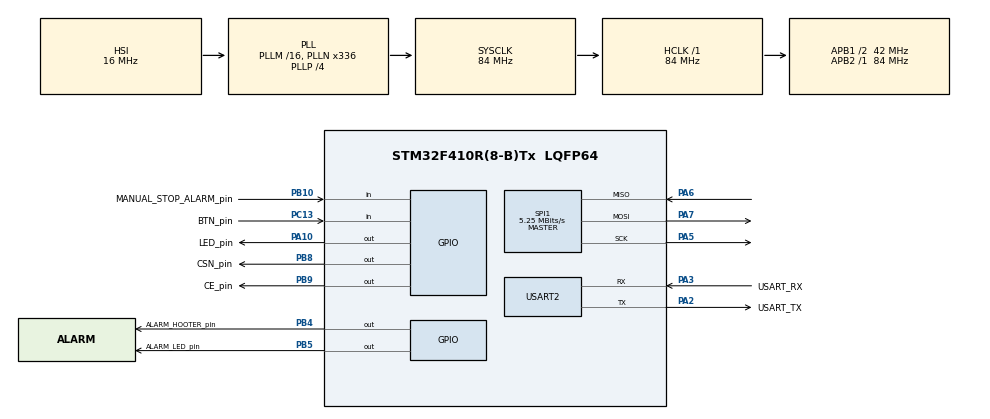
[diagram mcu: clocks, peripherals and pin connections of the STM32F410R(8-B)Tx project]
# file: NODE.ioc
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Mcu.Family=STM32F4
Mcu.Name=STM32F410R(8-B)Tx
Mcu.Package=LQFP64
NVIC.PriorityGroup=NVIC_PRIORITYGROUP_0
PA10.GPIO_Label=LED_pin
PA10.Signal=GPIO_Output
PA13.GPIO_Label=TMS
PA13.Mode=Serial_Wire
PA13.Signal=SYS_JTMS-SWDIO
PA14.GPIO_Label=TCK
PA14.Mode=Serial_Wire
PA14.Signal=SYS_JTCK-SWCLK
PA2.GPIO_Label=USART_TX
PA2.Mode=Asynchronous
PA2.Signal=USART2_TX
PA3.GPIO_Label=USART_RX
PA3.Mode=Asynchronous
PA3.Signal=USART2_RX
PA5.Mode=Full_Duplex_Master
PA5.Signal=SPI1_SCK
PA6.Mode=Full_Duplex_Master
PA6.Signal=SPI1_MISO
PA7.Mode=Full_Duplex_Master
PA7.Signal=SPI1_MOSI
PB10.GPIO_Label=MANUAL_STOP_ALARM_pin
PB10.GPIO_PuPd=GPIO_PULLUP
PB10.Signal=GPIO_Input
PB3.GPIO_Label=SWO
PB3.Signal=SYS_JTDO-SWO
PB4.GPIO_Label=ALARM_HOOTER_pin
PB4.Signal=GPIO_Output
PB5.GPIO_Label=ALARM_LED_pin
PB5.Signal=GPIO_Output
PB8.GPIO_Label=CSN_pin
PB8.Signal=GPIO_Output
PB9.GPIO_Label=CE_pin
PB9.Signal=GPIO_Output
PC13-ANTI_TAMP.GPIO_Label=BTN_pin
PC13-ANTI_TAMP.Signal=GPIO_Input
PC14-OSC32_IN.Mode=LSE-External-Oscillator
PC14-OSC32_IN.Signal=RCC_OSC32_IN
PC15-OSC32_OUT.Mode=LSE-External-Oscillator
PC15-OSC32_OUT.Signal=RCC_OSC32_OUT
PH0\ -\ OSC_IN.Mode=HSE-External-Clock-Source
PH0\ -\ OSC_IN.Signal=RCC_OSC_IN
PH1\ -\ OSC_OUT.Mode=HSE-External-Clock-Source
PH1\ -\ OSC_OUT.Signal=RCC_OSC_OUT
ProjectManager.HeapSize=0x200
ProjectManager.StackSize=0x400
ProjectManager.TargetToolchain=STM32CubeIDE
RCC.48MHZClocksFreq_Value=84000000
RCC.AHBFreq_Value=84000000
RCC.APB1CLKDivider=RCC_HCLK_DIV2
RCC.APB1Freq_Value=42000000
RCC.APB1TimFreq_Value=84000000
RCC.APB2Freq_Value=84000000
RCC.APB2TimFreq_Value=84000000
RCC.CortexFreq_Value=84000000
RCC.FLatency-AdvancedSettings=FLASH_LATENCY_2
RCC.HCLKFreq_Value=84000000
RCC.HSE_VALUE=8000000
RCC.HSI_VALUE=16000000
RCC.PLLN=336
RCC.PLLP=RCC_PLLP_DIV4
RCC.SYSCLKFreq_VALUE=84000000
RCC.SYSCLKSource=RCC_SYSCLKSOURCE_PLLCLK
RCC.VCOOutputFreq_Value=336000000
SPI1.BaudRatePrescaler=SPI_BAUDRATEPRESCALER_16
SPI1.CalculateBaudRate=5.25 MBits/s
SPI1.Direction=SPI_DIRECTION_2LINES
SPI1.Mode=SPI_MODE_MASTER
SPI1.VirtualType=VM_MASTER
USART2.VirtualMode=VM_ASYNC
board=NUCLEO-F410RB

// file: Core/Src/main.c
/* USER CODE BEGIN Header */
/**
 ******************************************************************************
 * @file           : main.c
 * @brief          : Main program body
 ******************************************************************************
 * @attention
 *
 * Copyright (c) 2023 STMicroelectronics.
 * All rights reserved.
 *
 * This software is licensed under terms that can be found in the LICENSE file
 * in the root directory of this software component.
 * If no LICENSE file comes with this software, it is provided AS-IS.
 *
 ******************************************************************************
 */
/* USER CODE END Header */
#include "main.h"

/* USER CODE BEGIN Includes */
#include "MY_NRF24.h"
#include <string.h>
/* USER CODE END Includes */

SPI_HandleTypeDef hspi1;

UART_HandleTypeDef huart2;

void SystemClock_Config(void);
static void MX_GPIO_Init(void);
static void MX_USART2_UART_Init(void);
static void MX_SPI1_Init(void);
/* USER CODE BEGIN PFP */
void Transmit_Update(void);
void NRF_init_as_node(void);
void Switch_to_Receiver_mode(void);
void untill_alarm_reset(void);
void Switch_to_Transmitt_mode(void);
void alarm_light_and_hooter(bool a);
/* USER CODE END PFP */

/* USER CODE BEGIN 0 */
uint64_t pipe_addr = 0x11223344AA;
char my_tx_data[] = "001,1"; // data to be transmitted when smoke detected
char received_data_from_server[7]; //data which will be received from the server
char trim_received_data_from_server[6];
char read_node_id[4];
char read_node_status[2];
bool manaul_turn_alarm_off = false;

uint8_t node_status[1];
/* USER CODE END 0 */

int main(void)
{

  /* MCU Configuration--------------------------------------------------------*/

  /* Reset of all peripherals, Initializes the Flash interface and the Systick. */
  HAL_Init();

  /* Configure the system clock */
  SystemClock_Config();

  /* Initialize all configured peripherals */
  MX_GPIO_Init();
  MX_USART2_UART_Init();
  MX_SPI1_Init();
  /* USER CODE BEGIN 2 */

	NRF_init_as_node(); //init NRF
	//set hooter light and alarm low
	alarm_light_and_hooter(0);
  /* USER CODE END 2 */

  /* Infinite loop */
	while (1) {

    /* USER CODE BEGIN 3 */
		if (!HAL_GPIO_ReadPin(BTN_pin_GPIO_Port, BTN_pin_Pin)) {
			alarm_light_and_hooter(1);
			Transmit_Update();
			Switch_to_Receiver_mode();
			untill_alarm_reset(); //wait unitill either stopped by server or from input push button
			Switch_to_Transmitt_mode();
		}

		HAL_GPIO_TogglePin(LED_pin_GPIO_Port, LED_pin_Pin);
		HAL_Delay(50);
	}
  /* USER CODE END 3 */
}

void SystemClock_Config(void)
{
  RCC_OscInitTypeDef RCC_OscInitStruct = {0};
  RCC_ClkInitTypeDef RCC_ClkInitStruct = {0};

  /** Configure the main internal regulator output voltage
  */
  __HAL_RCC_PWR_CLK_ENABLE();
  __HAL_PWR_VOLTAGESCALING_CONFIG(PWR_REGULATOR_VOLTAGE_SCALE1);

  /** Initializes the RCC Oscillators according to the specified parameters
  * in the RCC_OscInitTypeDef structure.
  */
  RCC_OscInitStruct.OscillatorType = RCC_OSCILLATORTYPE_HSI;
  RCC_OscInitStruct.HSIState = RCC_HSI_ON;
  RCC_OscInitStruct.HSICalibrationValue = RCC_HSICALIBRATION_DEFAULT;
  RCC_OscInitStruct.PLL.PLLState = RCC_PLL_ON;
  RCC_OscInitStruct.PLL.PLLSource = RCC_PLLSOURCE_HSI;
  RCC_OscInitStruct.PLL.PLLM = 16;
  RCC_OscInitStruct.PLL.PLLN = 336;
  RCC_OscInitStruct.PLL.PLLP = RCC_PLLP_DIV4;
  RCC_OscInitStruct.PLL.PLLQ = 4;
  RCC_OscInitStruct.PLL.PLLR = 2;
  if (HAL_RCC_OscConfig(&RCC_OscInitStruct) != HAL_OK)
  {
    Error_Handler();
  }

  /** Initializes the CPU, AHB and APB buses clocks
  */
  RCC_ClkInitStruct.ClockType = RCC_CLOCKTYPE_HCLK|RCC_CLOCKTYPE_SYSCLK
                              |RCC_CLOCKTYPE_PCLK1|RCC_CLOCKTYPE_PCLK2;
  RCC_ClkInitStruct.SYSCLKSource = RCC_SYSCLKSOURCE_PLLCLK;
  RCC_ClkInitStruct.AHBCLKDivider = RCC_SYSCLK_DIV1;
  RCC_ClkInitStruct.APB1CLKDivider = RCC_HCLK_DIV2;
  RCC_ClkInitStruct.APB2CLKDivider = RCC_HCLK_DIV1;

  if (HAL_RCC_ClockConfig(&RCC_ClkInitStruct, FLASH_LATENCY_2) != HAL_OK)
  {
    Error_Handler();
  }
}

static void MX_SPI1_Init(void)
{

  /* SPI1 parameter configuration*/
  hspi1.Instance = SPI1;
  hspi1.Init.Mode = SPI_MODE_MASTER;
  hspi1.Init.Direction = SPI_DIRECTION_2LINES;
  hspi1.Init.DataSize = SPI_DATASIZE_8BIT;
  hspi1.Init.CLKPolarity = SPI_POLARITY_LOW;
  hspi1.Init.CLKPhase = SPI_PHASE_1EDGE;
  hspi1.Init.NSS = SPI_NSS_SOFT;
  hspi1.Init.BaudRatePrescaler = SPI_BAUDRATEPRESCALER_16;
  hspi1.Init.FirstBit = SPI_FIRSTBIT_MSB;
  hspi1.Init.TIMode = SPI_TIMODE_DISABLE;
  hspi1.Init.CRCCalculation = SPI_CRCCALCULATION_DISABLE;
  hspi1.Init.CRCPolynomial = 15;
  if (HAL_SPI_Init(&hspi1) != HAL_OK)
  {
    Error_Handler();
  }

}

static void MX_USART2_UART_Init(void)
{

  huart2.Instance = USART2;
  huart2.Init.BaudRate = 115200;
  huart2.Init.WordLength = UART_WORDLENGTH_8B;
  huart2.Init.StopBits = UART_STOPBITS_1;
  huart2.Init.Parity = UART_PARITY_NONE;
  huart2.Init.Mode = UART_MODE_TX_RX;
  huart2.Init.HwFlowCtl = UART_HWCONTROL_NONE;
  huart2.Init.OverSampling = UART_OVERSAMPLING_16;
  if (HAL_UART_Init(&huart2) != HAL_OK)
  {
    Error_Handler();
  }

}

static void MX_GPIO_Init(void)
{
  GPIO_InitTypeDef GPIO_InitStruct = {0};

  /* GPIO Ports Clock Enable */
  __HAL_RCC_GPIOC_CLK_ENABLE();
  __HAL_RCC_GPIOH_CLK_ENABLE();
  __HAL_RCC_GPIOA_CLK_ENABLE();
  __HAL_RCC_GPIOB_CLK_ENABLE();

  /*Configure GPIO pin Output Level */
  HAL_GPIO_WritePin(LED_pin_GPIO_Port, LED_pin_Pin, GPIO_PIN_RESET);

  /*Configure GPIO pin Output Level */
  HAL_GPIO_WritePin(GPIOB, ALARM_HOOTER_pin_Pin|ALARM_LED_pin_Pin|CSN_pin_Pin|CE_pin_Pin, GPIO_PIN_RESET);

  /*Configure GPIO pin : BTN_pin_Pin */
  GPIO_InitStruct.Pin = BTN_pin_Pin;
  GPIO_InitStruct.Mode = GPIO_MODE_INPUT;
  GPIO_InitStruct.Pull = GPIO_NOPULL;
  HAL_GPIO_Init(BTN_pin_GPIO_Port, &GPIO_InitStruct);

  /*Configure GPIO pin : MANUAL_STOP_ALARM_pin_Pin */
  GPIO_InitStruct.Pin = MANUAL_STOP_ALARM_pin_Pin;
  GPIO_InitStruct.Mode = GPIO_MODE_INPUT;
  GPIO_InitStruct.Pull = GPIO_PULLUP;
  HAL_GPIO_Init(MANUAL_STOP_ALARM_pin_GPIO_Port, &GPIO_InitStruct);

  /*Configure GPIO pin : LED_pin_Pin */
  GPIO_InitStruct.Pin = LED_pin_Pin;
  GPIO_InitStruct.Mode = GPIO_MODE_OUTPUT_PP;
  GPIO_InitStruct.Pull = GPIO_NOPULL;
  GPIO_InitStruct.Speed = GPIO_SPEED_FREQ_LOW;
  HAL_GPIO_Init(LED_pin_GPIO_Port, &GPIO_InitStruct);

  /*Configure GPIO pins : ALARM_HOOTER_pin_Pin ALARM_LED_pin_Pin CSN_pin_Pin CE_pin_Pin */
  GPIO_InitStruct.Pin = ALARM_HOOTER_pin_Pin|ALARM_LED_pin_Pin|CSN_pin_Pin|CE_pin_Pin;
  GPIO_InitStruct.Mode = GPIO_MODE_OUTPUT_PP;
  GPIO_InitStruct.Pull = GPIO_NOPULL;
  GPIO_InitStruct.Speed = GPIO_SPEED_FREQ_LOW;
  HAL_GPIO_Init(GPIOB, &GPIO_InitStruct);

}

/* USER CODE BEGIN 4 */
void NRF_init_as_node(void) {
	NRF24_begin(CE_pin_GPIO_Port, CSN_pin_Pin, CE_pin_Pin, hspi1);
	nrf24_DebugUART_Init(huart2);
	NRF24_openWritingPipe(pipe_addr);
	NRF24_setAutoAck(true);
	NRF24_setChannel(52);
	NRF24_setPayloadSize(32);
	printRadioSettings();
	NRF24_stopListening();
}
void Transmit_Update(void) {
	for (int i = 0; i < +10; i++) {
		if (!NRF24_write(my_tx_data, 32)) {
			NRF24_write(my_tx_data, 32);
			HAL_UART_Transmit(&huart2,
					(uint8_t*) "Transmitt_update waiting for ack\n",
					strlen("Transmitt_update waiting for ack\n"), 10);
			HAL_Delay(200);
		} else {
			HAL_UART_Transmit(&huart2,
					(uint8_t*) "Transmitt_update Transmitted successfully\n",
					strlen("Transmitt_update Transmitted successfully\n"), 10);
			HAL_Delay(100);
			break;
		}
	}
}
void Switch_to_Receiver_mode(void) {
	NRF24_setChannel(52);
	pipe_addr = 0x11223344AB;
	NRF24_openReadingPipe(1, pipe_addr);
	NRF24_startListening();
}

void untill_alarm_reset(void) {
	while (1) {
		if (NRF24_available()) {
			NRF24_read(received_data_from_server, 32); //store received data
			received_data_from_server[6] = '\r';
			received_data_from_server[7] = '\n';
			HAL_UART_Transmit(&huart2, (uint8_t*) received_data_from_server,
					sizeof(received_data_from_server), 10); //send data to debug port
			//check if id and val matches, otherwise continue
			memcpy(trim_received_data_from_server, &received_data_from_server,
					5);
			HAL_UART_Transmit(&huart2,
					(uint8_t*) trim_received_data_from_server, 5, 10); //send trimmed received data
			memcpy(read_node_id, &trim_received_data_from_server, 3); //get id of the node
			//read_node_status[1] = trim_received_data_from_server[5];  //get status of node
			//HAL_UART_Transmit(&huart2, (uint8_t*) read_node_id, 3,10); //send read node id
			if (strcmp((char*) received_data_from_server, "001,0") == 0) { //compare trimmed data and break if it is same
				alarm_light_and_hooter(0);
				break;
			}
			if (!HAL_GPIO_ReadPin(MANUAL_STOP_ALARM_pin_GPIO_Port,
			MANUAL_STOP_ALARM_pin_Pin)) {
				manaul_turn_alarm_off = true;
			}
			if (manaul_turn_alarm_off) {
				alarm_light_and_hooter(0);
				HAL_UART_Transmit(&huart2,
						(uint8_t*) "Alarm manually turned off\n",
						strlen("Alarm manually turned off\n"), 10);
				manaul_turn_alarm_off = 0;
				break;
			}
		}
		if (!HAL_GPIO_ReadPin(MANUAL_STOP_ALARM_pin_GPIO_Port,
		MANUAL_STOP_ALARM_pin_Pin)) {
			manaul_turn_alarm_off = true;
		}
		if (manaul_turn_alarm_off) {
			alarm_light_and_hooter(0);
			HAL_UART_Transmit(&huart2, (uint8_t*) "Alarm manually turned off\n",
					strlen("Alarm manually turned off\n"), 10);
			manaul_turn_alarm_off = 0;
			break;
		}
		HAL_UART_Transmit(&huart2,
				(uint8_t*) "waiting for response from server\n",
				strlen("waiting for response from server\n"), 10);
		HAL_GPIO_TogglePin(LED_pin_GPIO_Port, LED_pin_Pin);
		HAL_Delay(200);
	}
}
void Switch_to_Transmitt_mode(void) {
	NRF24_setChannel(52);
	NRF24_stopListening();
	pipe_addr = 0x11223344AA;
	NRF24_openWritingPipe(pipe_addr);
	NRF24_setChannel(52);
}
void alarm_light_and_hooter(bool a) {
	if (a == true) {
		HAL_GPIO_WritePin(ALARM_HOOTER_pin_GPIO_Port, ALARM_HOOTER_pin_Pin, 1);
		HAL_GPIO_WritePin(ALARM_LED_pin_GPIO_Port, ALARM_LED_pin_Pin, 1);
	} else if (a == false) {
		HAL_GPIO_WritePin(ALARM_HOOTER_pin_GPIO_Port, ALARM_HOOTER_pin_Pin, 0);
		HAL_GPIO_WritePin(ALARM_LED_pin_GPIO_Port, ALARM_LED_pin_Pin, 0);
	}
}
/* USER CODE END 4 */

void Error_Handler(void)
{
  /* USER CODE BEGIN Error_Handler_Debug */
	/* User can add his own implementation to report the HAL error return state */
	__disable_irq();
	while (1) {
		HAL_GPIO_TogglePin(LED_pin_GPIO_Port, LED_pin_Pin);
		HAL_Delay(2000);
	}
  /* USER CODE END Error_Handler_Debug */
}
